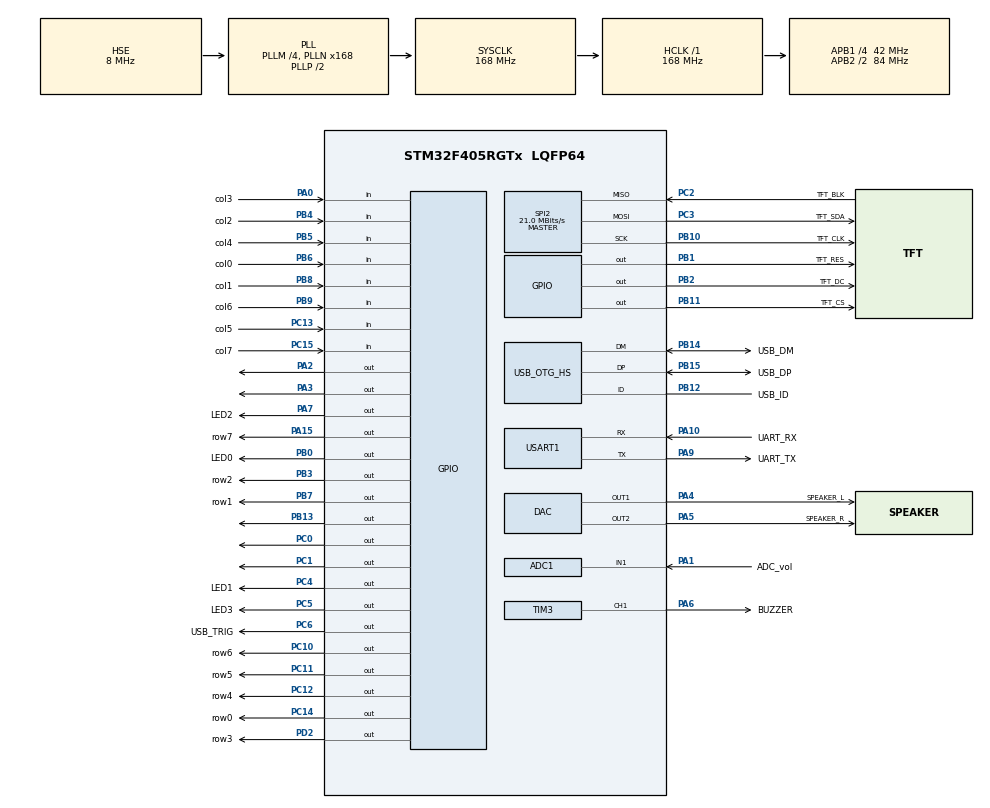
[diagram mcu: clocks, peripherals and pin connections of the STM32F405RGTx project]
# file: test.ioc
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ADC1.Channel-4\#ChannelRegularConversion=ADC_CHANNEL_1
ADC1.ContinuousConvMode=ENABLE
ADC1.NbrOfConversionFlag=1
ADC1.Rank-4\#ChannelRegularConversion=1
ADC1.SamplingTime-4\#ChannelRegularConversion=ADC_SAMPLETIME_3CYCLES
ADC1.master=1
Mcu.Family=STM32F4
Mcu.Name=STM32F405RGTx
Mcu.Package=LQFP64
NVIC.ADC_IRQn=true\:0\:0\:false\:false\:true\:true\:true
NVIC.PriorityGroup=NVIC_PRIORITYGROUP_4
NVIC.TIM3_IRQn=true\:0\:0\:false\:false\:true\:true\:true
PA0-WKUP.GPIO_Label=col3
PA0-WKUP.GPIO_PuPd=GPIO_PULLUP
PA0-WKUP.Signal=GPIO_Input
PA1.GPIO_Label=ADC_vol
PA1.Signal=ADCx_IN1
PA10.GPIO_Label=UART_RX
PA10.Mode=Asynchronous
PA10.Signal=USART1_RX
PA13.Signal=SYS_JTMS-SWDIO
PA14.Signal=SYS_JTCK-SWCLK
PA15.GPIO_Label=row7
PA15.PinState=GPIO_PIN_SET
PA15.Signal=GPIO_Output
PA2.Signal=GPIO_Output
PA3.Signal=GPIO_Output
PA4.GPIO_Label=SPEAKER_L
PA4.Signal=COMP_DAC1_group
PA5.GPIO_Label=SPEAKER_R
PA5.Signal=COMP_DAC2_group
PA6.GPIO_Label=BUZZER
PA6.Signal=S_TIM3_CH1
PA7.GPIO_Label=LED2
PA7.PinState=GPIO_PIN_SET
PA7.Signal=GPIO_Output
PA9.GPIO_Label=UART_TX
PA9.Mode=Asynchronous
PA9.Signal=USART1_TX
PB0.GPIO_Label=LED0
PB0.PinState=GPIO_PIN_SET
PB0.Signal=GPIO_Output
PB1.GPIO_Label=TFT_RES
PB1.Signal=GPIO_Output
PB10.GPIO_Label=TFT_CLK
PB10.Mode=Full_Duplex_Master
PB10.Signal=SPI2_SCK
PB11.GPIO_Label=TFT_CS
PB11.Signal=GPIO_Output
PB12.GPIO_Label=USB_ID
PB12.Mode=OTG/Dual-Role-Device-FS
PB12.Signal=USB_OTG_HS_ID
PB13.Signal=GPIO_Output
PB14.GPIO_Label=USB_DM
PB14.Mode=OTG/Dual-Role-Device-FS
PB14.Signal=USB_OTG_HS_DM
PB15.GPIO_Label=USB_DP
PB15.Mode=OTG/Dual-Role-Device-FS
PB15.Signal=USB_OTG_HS_DP
PB2.GPIO_Label=TFT_DC
PB2.Signal=GPIO_Output
PB3.GPIO_Label=row2
PB3.PinState=GPIO_PIN_SET
PB3.Signal=GPIO_Output
PB4.GPIO_Label=col2
PB4.GPIO_PuPd=GPIO_PULLUP
PB4.Signal=GPIO_Input
PB5.GPIO_Label=col4
PB5.GPIO_PuPd=GPIO_PULLUP
PB5.Signal=GPIO_Input
PB6.GPIO_Label=col0
PB6.GPIO_PuPd=GPIO_PULLUP
PB6.Signal=GPIO_Input
PB7.GPIO_Label=row1
PB7.PinState=GPIO_PIN_SET
PB7.Signal=GPIO_Output
PB8.GPIO_Label=col1
PB8.GPIO_PuPd=GPIO_PULLUP
PB8.Signal=GPIO_Input
PB9.GPIO_Label=col6
PB9.GPIO_PuPd=GPIO_PULLUP
PB9.Signal=GPIO_Input
PC0.Signal=GPIO_Output
PC1.Signal=GPIO_Output
PC10.GPIO_Label=row6
PC10.PinState=GPIO_PIN_SET
PC10.Signal=GPIO_Output
PC11.GPIO_Label=row5
PC11.PinState=GPIO_PIN_SET
PC11.Signal=GPIO_Output
PC12.GPIO_Label=row4
PC12.PinState=GPIO_PIN_SET
PC12.Signal=GPIO_Output
PC13-ANTI_TAMP.GPIO_Label=col5
PC13-ANTI_TAMP.GPIO_PuPd=GPIO_PULLUP
PC13-ANTI_TAMP.Signal=GPIO_Input
PC14-OSC32_IN.GPIO_Label=row0
PC14-OSC32_IN.PinState=GPIO_PIN_SET
PC14-OSC32_IN.Signal=GPIO_Output
PC15-OSC32_OUT.GPIO_Label=col7
PC15-OSC32_OUT.GPIO_PuPd=GPIO_PULLUP
PC15-OSC32_OUT.Signal=GPIO_Input
PC2.GPIO_Label=TFT_BLK
PC2.Mode=Full_Duplex_Master
PC2.Signal=SPI2_MISO
PC3.GPIO_Label=TFT_SDA
PC3.Mode=Full_Duplex_Master
PC3.Signal=SPI2_MOSI
PC4.GPIO_Label=LED1
PC4.PinState=GPIO_PIN_SET
PC4.Signal=GPIO_Output
PC5.GPIO_Label=LED3
PC5.PinState=GPIO_PIN_SET
PC5.Signal=GPIO_Output
PC6.GPIO_Label=USB_TRIG
PC6.Signal=GPIO_Output
PD2.GPIO_Label=row3
PD2.PinState=GPIO_PIN_SET
PD2.Signal=GPIO_Output
PH0-OSC_IN.Mode=HSE-External-Oscillator
PH0-OSC_IN.Signal=RCC_OSC_IN
PH1-OSC_OUT.Mode=HSE-External-Oscillator
PH1-OSC_OUT.Signal=RCC_OSC_OUT
ProjectManager.HeapSize=0x200
ProjectManager.StackSize=0x400
ProjectManager.TargetToolchain=STM32CubeIDE
RCC.48MHZClocksFreq_Value=48000000
RCC.AHBFreq_Value=168000000
RCC.APB1CLKDivider=RCC_HCLK_DIV4
RCC.APB1Freq_Value=42000000
RCC.APB1TimFreq_Value=84000000
RCC.APB2CLKDivider=RCC_HCLK_DIV2
RCC.APB2Freq_Value=84000000
RCC.APB2TimFreq_Value=168000000
RCC.CortexFreq_Value=168000000
RCC.HCLKFreq_Value=168000000
RCC.HSE_VALUE=8000000
RCC.HSI_VALUE=16000000
RCC.LSE_VALUE=32768
RCC.PLLM=4
RCC.PLLN=168
RCC.PLLQ=7
RCC.SYSCLKFreq_VALUE=168000000
RCC.SYSCLKSource=RCC_SYSCLKSOURCE_PLLCLK
RCC.VCOOutputFreq_Value=336000000
SH.ADCx_IN1.0=ADC1_IN1,IN1
SH.COMP_DAC1_group.0=DAC_OUT1,DAC_OUT1
SH.COMP_DAC2_group.0=DAC_OUT2,DAC_OUT2
SH.S_TIM3_CH1.0=TIM3_CH1,PWM Generation1 CH1
SPI2.BaudRatePrescaler=SPI_BAUDRATEPRESCALER_2
SPI2.CalculateBaudRate=21.0 MBits/s
SPI2.Direction=SPI_DIRECTION_2LINES
SPI2.Mode=SPI_MODE_MASTER
SPI2.VirtualType=VM_MASTER
TIM3.Channel-PWM\ Generation1\ CH1=TIM_CHANNEL_1
TIM3.Period=255-1
TIM3.Prescaler=692-1
USART1.VirtualMode=VM_ASYNC
VP_TIM3_VS_ClockSourceINT.Mode=Internal
board=custom

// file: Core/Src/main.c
/* USER CODE BEGIN Header */
/**
  ******************************************************************************
  * @file           : main.c
  * @brief          : Main program body
  ******************************************************************************
  * @attention
  *
  * <h2><center>&copy; Copyright (c) 2022 STMicroelectronics.
  * All rights reserved.</center></h2>
  *
  * This software component is licensed by ST under BSD 3-Clause license,
  * the "License"; You may not use this file except in compliance with the
  * License. You may obtain a copy of the License at:
  *                        opensource.org/licenses/BSD-3-Clause
  *
  ******************************************************************************
  */
/* USER CODE END Header */
#include "main.h"

/* USER CODE BEGIN Includes */
#include "button_matrix.h"
/* USER CODE END Includes */

ADC_HandleTypeDef hadc1;

DAC_HandleTypeDef hdac;

SPI_HandleTypeDef hspi2;

TIM_HandleTypeDef htim3;

UART_HandleTypeDef huart1;

/* USER CODE BEGIN PV */

volatile uint32_t last_ticks;
float get_volume(){
	uint32_t knob_reading = 0;
	HAL_ADC_PollForConversion(&hadc1, 100);
	knob_reading = HAL_ADC_GetValue(&hadc1);
	return knob_reading/1.0;
}
void beeper_high(){

	  TIM3->ARR = 1000;    //set the timer1 auto-reload counter
	  TIM3->PSC = 120;    //set the timer1 prescaler value
	  TIM3->CCR1 = 500; //set the compare value of timer1 channel1
}
void beeper_low(){

	  TIM3->ARR = 1000;    //set the timer1 auto-reload counter
	  TIM3->PSC = 168;    //set the timer1 prescaler value
	  TIM3->CCR1 = 500; //set the compare value of timer1 channel1
}
void beeper_off(){

	  TIM3->ARR = 1000;    //set the timer1 auto-reload counter
	  TIM3->PSC = 84;    //set the timer1 prescaler value
	  TIM3->CCR1 = 0; //set the compare value of timer1 channel1
}
float metronome_beeper(int bpm, int idk_what_it_call){
	float b2b_time = 1/(bpm/60.0f)*1000;
	static uint16_t count = 0;
	static uint8_t buzz_offed = 0;
	if (HAL_GetTick() - last_ticks > b2b_time) {
		last_ticks = HAL_GetTick();
		buzz_offed = 0;
		if(!(count % idk_what_it_call)){
			beeper_high();
		}else{
			beeper_low();
		}
		count++;
		gpio_toggle(LED2);
	}
	if(HAL_GetTick() - last_ticks > 5 && !buzz_offed){
		beeper_off();
		buzz_offed = 1;
		last_ticks = HAL_GetTick();
	}
}
/* USER CODE END PV */

void SystemClock_Config(void);
static void MX_GPIO_Init(void);
static void MX_ADC1_Init(void);
static void MX_USART1_UART_Init(void);
static void MX_USB_OTG_HS_USB_Init(void);
static void MX_DAC_Init(void);
static void MX_TIM3_Init(void);
static void MX_SPI2_Init(void);
/* USER CODE BEGIN PFP */
uint32_t raw = 0;
/* USER CODE END PFP */

int main(void)
{

  /* MCU Configuration--------------------------------------------------------*/

  /* Reset of all peripherals, Initializes the Flash interface and the Systick. */
  HAL_Init();

  /* Configure the system clock */
  SystemClock_Config();

  /* Initialize all configured peripherals */
  MX_GPIO_Init();
  MX_ADC1_Init();
  MX_USART1_UART_Init();
  MX_USB_OTG_HS_USB_Init();
  MX_DAC_Init();
  MX_TIM3_Init();
  MX_SPI2_Init();
  /* USER CODE BEGIN 2 */

//  HAL_ADC_Start(&hadc1);
  /* USER CODE END 2 */

  /* Infinite loop */
  /* USER CODE BEGIN WHILE */
  TIM3->ARR = 1000;    //set the timer1 auto-reload counter
  TIM3->PSC = 84;    //set the timer1 prescaler value
  TIM3->CCR1 = 500; //set the compare value of timer1 channel1
  uint64_t btn_matrix = 0;
  uint8_t last_btn = 0;
  float volume = 0;
//  HAL_TIM_PWM_Start(&htim3, TIM_CHANNEL_1);//too noist
  last_ticks = HAL_GetTick();
  while (1)
  {

	metronome_beeper(80, 3);
	btn_matrix = detect_key_matrix();
	if(read_key_matrix(BTN_1_U)){
		gpio_reset(LED0);
	}else{
		gpio_set(LED0);
	}if(read_key_matrix(BTN_1_D)){
		gpio_reset(LED1);
	}else{
		gpio_set(LED1);
	}
//	  gpio_toggle(LED2);
//	  delay(499);
//	volume = get_volume();
		HAL_ADC_Start(&hadc1);
		HAL_ADC_PollForConversion(&hadc1, HAL_MAX_DELAY);
		raw = HAL_ADC_GetValue(&hadc1);
		HAL_ADC_Stop(&hadc1);
    /* USER CODE END WHILE */

  }
}

void SystemClock_Config(void)
{
  RCC_OscInitTypeDef RCC_OscInitStruct = {0};
  RCC_ClkInitTypeDef RCC_ClkInitStruct = {0};

  /** Configure the main internal regulator output voltage
  */
  __HAL_RCC_PWR_CLK_ENABLE();
  __HAL_PWR_VOLTAGESCALING_CONFIG(PWR_REGULATOR_VOLTAGE_SCALE1);
  /** Initializes the RCC Oscillators according to the specified parameters
  * in the RCC_OscInitTypeDef structure.
  */
  RCC_OscInitStruct.OscillatorType = RCC_OSCILLATORTYPE_HSE;
  RCC_OscInitStruct.HSEState = RCC_HSE_ON;
  RCC_OscInitStruct.PLL.PLLState = RCC_PLL_ON;
  RCC_OscInitStruct.PLL.PLLSource = RCC_PLLSOURCE_HSE;
  RCC_OscInitStruct.PLL.PLLM = 4;
  RCC_OscInitStruct.PLL.PLLN = 168;
  RCC_OscInitStruct.PLL.PLLP = RCC_PLLP_DIV2;
  RCC_OscInitStruct.PLL.PLLQ = 7;
  if (HAL_RCC_OscConfig(&RCC_OscInitStruct) != HAL_OK)
  {
    Error_Handler();
  }
  /** Initializes the CPU, AHB and APB buses clocks
  */
  RCC_ClkInitStruct.ClockType = RCC_CLOCKTYPE_HCLK|RCC_CLOCKTYPE_SYSCLK
                              |RCC_CLOCKTYPE_PCLK1|RCC_CLOCKTYPE_PCLK2;
  RCC_ClkInitStruct.SYSCLKSource = RCC_SYSCLKSOURCE_PLLCLK;
  RCC_ClkInitStruct.AHBCLKDivider = RCC_SYSCLK_DIV1;
  RCC_ClkInitStruct.APB1CLKDivider = RCC_HCLK_DIV4;
  RCC_ClkInitStruct.APB2CLKDivider = RCC_HCLK_DIV2;

  if (HAL_RCC_ClockConfig(&RCC_ClkInitStruct, FLASH_LATENCY_5) != HAL_OK)
  {
    Error_Handler();
  }
}

static void MX_ADC1_Init(void)
{

  ADC_ChannelConfTypeDef sConfig = {0};

  /** Configure the global features of the ADC (Clock, Resolution, Data Alignment and number of conversion)
  */
  hadc1.Instance = ADC1;
  hadc1.Init.ClockPrescaler = ADC_CLOCK_SYNC_PCLK_DIV4;
  hadc1.Init.Resolution = ADC_RESOLUTION_12B;
  hadc1.Init.ScanConvMode = DISABLE;
  hadc1.Init.ContinuousConvMode = ENABLE;
  hadc1.Init.DiscontinuousConvMode = DISABLE;
  hadc1.Init.ExternalTrigConvEdge = ADC_EXTERNALTRIGCONVEDGE_NONE;
  hadc1.Init.ExternalTrigConv = ADC_SOFTWARE_START;
  hadc1.Init.DataAlign = ADC_DATAALIGN_RIGHT;
  hadc1.Init.NbrOfConversion = 1;
  hadc1.Init.DMAContinuousRequests = DISABLE;
  hadc1.Init.EOCSelection = ADC_EOC_SINGLE_CONV;
  if (HAL_ADC_Init(&hadc1) != HAL_OK)
  {
    Error_Handler();
  }
  /** Configure for the selected ADC regular channel its corresponding rank in the sequencer and its sample time.
  */
  sConfig.Channel = ADC_CHANNEL_1;
  sConfig.Rank = 1;
  sConfig.SamplingTime = ADC_SAMPLETIME_3CYCLES;
  if (HAL_ADC_ConfigChannel(&hadc1, &sConfig) != HAL_OK)
  {
    Error_Handler();
  }

}

static void MX_DAC_Init(void)
{

  DAC_ChannelConfTypeDef sConfig = {0};

  /** DAC Initialization
  */
  hdac.Instance = DAC;
  if (HAL_DAC_Init(&hdac) != HAL_OK)
  {
    Error_Handler();
  }
  /** DAC channel OUT1 config
  */
  sConfig.DAC_Trigger = DAC_TRIGGER_NONE;
  sConfig.DAC_OutputBuffer = DAC_OUTPUTBUFFER_ENABLE;
  if (HAL_DAC_ConfigChannel(&hdac, &sConfig, DAC_CHANNEL_1) != HAL_OK)
  {
    Error_Handler();
  }
  /** DAC channel OUT2 config
  */
  if (HAL_DAC_ConfigChannel(&hdac, &sConfig, DAC_CHANNEL_2) != HAL_OK)
  {
    Error_Handler();
  }

}

static void MX_SPI2_Init(void)
{

  /* SPI2 parameter configuration*/
  hspi2.Instance = SPI2;
  hspi2.Init.Mode = SPI_MODE_MASTER;
  hspi2.Init.Direction = SPI_DIRECTION_2LINES;
  hspi2.Init.DataSize = SPI_DATASIZE_8BIT;
  hspi2.Init.CLKPolarity = SPI_POLARITY_LOW;
  hspi2.Init.CLKPhase = SPI_PHASE_1EDGE;
  hspi2.Init.NSS = SPI_NSS_SOFT;
  hspi2.Init.BaudRatePrescaler = SPI_BAUDRATEPRESCALER_2;
  hspi2.Init.FirstBit = SPI_FIRSTBIT_MSB;
  hspi2.Init.TIMode = SPI_TIMODE_DISABLE;
  hspi2.Init.CRCCalculation = SPI_CRCCALCULATION_DISABLE;
  hspi2.Init.CRCPolynomial = 10;
  if (HAL_SPI_Init(&hspi2) != HAL_OK)
  {
    Error_Handler();
  }

}

static void MX_TIM3_Init(void)
{

  TIM_ClockConfigTypeDef sClockSourceConfig = {0};
  TIM_MasterConfigTypeDef sMasterConfig = {0};
  TIM_OC_InitTypeDef sConfigOC = {0};

  htim3.Instance = TIM3;
  htim3.Init.Prescaler = 692-1;
  htim3.Init.CounterMode = TIM_COUNTERMODE_UP;
  htim3.Init.Period = 255-1;
  htim3.Init.ClockDivision = TIM_CLOCKDIVISION_DIV1;
  htim3.Init.AutoReloadPreload = TIM_AUTORELOAD_PRELOAD_DISABLE;
  if (HAL_TIM_Base_Init(&htim3) != HAL_OK)
  {
    Error_Handler();
  }
  sClockSourceConfig.ClockSource = TIM_CLOCKSOURCE_INTERNAL;
  if (HAL_TIM_ConfigClockSource(&htim3, &sClockSourceConfig) != HAL_OK)
  {
    Error_Handler();
  }
  if (HAL_TIM_PWM_Init(&htim3) != HAL_OK)
  {
    Error_Handler();
  }
  sMasterConfig.MasterOutputTrigger = TIM_TRGO_RESET;
  sMasterConfig.MasterSlaveMode = TIM_MASTERSLAVEMODE_DISABLE;
  if (HAL_TIMEx_MasterConfigSynchronization(&htim3, &sMasterConfig) != HAL_OK)
  {
    Error_Handler();
  }
  sConfigOC.OCMode = TIM_OCMODE_PWM1;
  sConfigOC.Pulse = 0;
  sConfigOC.OCPolarity = TIM_OCPOLARITY_HIGH;
  sConfigOC.OCFastMode = TIM_OCFAST_DISABLE;
  if (HAL_TIM_PWM_ConfigChannel(&htim3, &sConfigOC, TIM_CHANNEL_1) != HAL_OK)
  {
    Error_Handler();
  }
  HAL_TIM_MspPostInit(&htim3);

}

static void MX_USART1_UART_Init(void)
{

  huart1.Instance = USART1;
  huart1.Init.BaudRate = 115200;
  huart1.Init.WordLength = UART_WORDLENGTH_8B;
  huart1.Init.StopBits = UART_STOPBITS_1;
  huart1.Init.Parity = UART_PARITY_NONE;
  huart1.Init.Mode = UART_MODE_TX_RX;
  huart1.Init.HwFlowCtl = UART_HWCONTROL_NONE;
  huart1.Init.OverSampling = UART_OVERSAMPLING_16;
  if (HAL_UART_Init(&huart1) != HAL_OK)
  {
    Error_Handler();
  }

}

static void MX_USB_OTG_HS_USB_Init(void)
{

}

static void MX_GPIO_Init(void)
{
  GPIO_InitTypeDef GPIO_InitStruct = {0};

  /* GPIO Ports Clock Enable */
  __HAL_RCC_GPIOC_CLK_ENABLE();
  __HAL_RCC_GPIOH_CLK_ENABLE();
  __HAL_RCC_GPIOA_CLK_ENABLE();
  __HAL_RCC_GPIOB_CLK_ENABLE();
  __HAL_RCC_GPIOD_CLK_ENABLE();

  /*Configure GPIO pin Output Level */
  HAL_GPIO_WritePin(GPIOC, row0_Pin|LED1_Pin|LED3_Pin|row6_Pin
                          |row5_Pin|row4_Pin, GPIO_PIN_SET);

  /*Configure GPIO pin Output Level */
  HAL_GPIO_WritePin(GPIOC, GPIO_PIN_0|GPIO_PIN_1|USB_TRIG_Pin, GPIO_PIN_RESET);

  /*Configure GPIO pin Output Level */
  HAL_GPIO_WritePin(GPIOA, GPIO_PIN_2|GPIO_PIN_3, GPIO_PIN_RESET);

  /*Configure GPIO pin Output Level */
  HAL_GPIO_WritePin(GPIOA, LED2_Pin|row7_Pin, GPIO_PIN_SET);

  /*Configure GPIO pin Output Level */
  HAL_GPIO_WritePin(GPIOB, LED0_Pin|row2_Pin|row1_Pin, GPIO_PIN_SET);

  /*Configure GPIO pin Output Level */
  HAL_GPIO_WritePin(GPIOB, TFT_RES_Pin|TFT_DC_Pin|TFT_CS_Pin|GPIO_PIN_13, GPIO_PIN_RESET);

  /*Configure GPIO pin Output Level */
  HAL_GPIO_WritePin(row3_GPIO_Port, row3_Pin, GPIO_PIN_SET);

  /*Configure GPIO pins : col5_Pin col7_Pin */
  GPIO_InitStruct.Pin = col5_Pin|col7_Pin;
  GPIO_InitStruct.Mode = GPIO_MODE_INPUT;
  GPIO_InitStruct.Pull = GPIO_PULLUP;
  HAL_GPIO_Init(GPIOC, &GPIO_InitStruct);

  /*Configure GPIO pins : row0_Pin PC0 PC1 LED1_Pin
                           LED3_Pin USB_TRIG_Pin row6_Pin row5_Pin
                           row4_Pin */
  GPIO_InitStruct.Pin = row0_Pin|GPIO_PIN_0|GPIO_PIN_1|LED1_Pin
                          |LED3_Pin|USB_TRIG_Pin|row6_Pin|row5_Pin
                          |row4_Pin;
  GPIO_InitStruct.Mode = GPIO_MODE_OUTPUT_PP;
  GPIO_InitStruct.Pull = GPIO_NOPULL;
  GPIO_InitStruct.Speed = GPIO_SPEED_FREQ_LOW;
  HAL_GPIO_Init(GPIOC, &GPIO_InitStruct);

  /*Configure GPIO pin : col3_Pin */
  GPIO_InitStruct.Pin = col3_Pin;
  GPIO_InitStruct.Mode = GPIO_MODE_INPUT;
  GPIO_InitStruct.Pull = GPIO_PULLUP;
  HAL_GPIO_Init(col3_GPIO_Port, &GPIO_InitStruct);

  /*Configure GPIO pins : PA2 PA3 LED2_Pin row7_Pin */
  GPIO_InitStruct.Pin = GPIO_PIN_2|GPIO_PIN_3|LED2_Pin|row7_Pin;
  GPIO_InitStruct.Mode = GPIO_MODE_OUTPUT_PP;
  GPIO_InitStruct.Pull = GPIO_NOPULL;
  GPIO_InitStruct.Speed = GPIO_SPEED_FREQ_LOW;
  HAL_GPIO_Init(GPIOA, &GPIO_InitStruct);

  /*Configure GPIO pins : LED0_Pin TFT_RES_Pin TFT_DC_Pin TFT_CS_Pin
                           PB13 row2_Pin row1_Pin */
  GPIO_InitStruct.Pin = LED0_Pin|TFT_RES_Pin|TFT_DC_Pin|TFT_CS_Pin
                          |GPIO_PIN_13|row2_Pin|row1_Pin;
  GPIO_InitStruct.Mode = GPIO_MODE_OUTPUT_PP;
  GPIO_InitStruct.Pull = GPIO_NOPULL;
  GPIO_InitStruct.Speed = GPIO_SPEED_FREQ_LOW;
  HAL_GPIO_Init(GPIOB, &GPIO_InitStruct);

  /*Configure GPIO pins : USB_ID_Pin USB_DM_Pin USB_DP_Pin */
  GPIO_InitStruct.Pin = USB_ID_Pin|USB_DM_Pin|USB_DP_Pin;
  GPIO_InitStruct.Mode = GPIO_MODE_AF_PP;
  GPIO_InitStruct.Pull = GPIO_NOPULL;
  GPIO_InitStruct.Speed = GPIO_SPEED_FREQ_VERY_HIGH;
  GPIO_InitStruct.Alternate = GPIO_AF12_OTG_HS_FS;
  HAL_GPIO_Init(GPIOB, &GPIO_InitStruct);

  /*Configure GPIO pin : row3_Pin */
  GPIO_InitStruct.Pin = row3_Pin;
  GPIO_InitStruct.Mode = GPIO_MODE_OUTPUT_PP;
  GPIO_InitStruct.Pull = GPIO_NOPULL;
  GPIO_InitStruct.Speed = GPIO_SPEED_FREQ_LOW;
  HAL_GPIO_Init(row3_GPIO_Port, &GPIO_InitStruct);

  /*Configure GPIO pins : col2_Pin col4_Pin col0_Pin col1_Pin
                           col6_Pin */
  GPIO_InitStruct.Pin = col2_Pin|col4_Pin|col0_Pin|col1_Pin
                          |col6_Pin;
  GPIO_InitStruct.Mode = GPIO_MODE_INPUT;
  GPIO_InitStruct.Pull = GPIO_PULLUP;
  HAL_GPIO_Init(GPIOB, &GPIO_InitStruct);

}

void Error_Handler(void)
{
  __disable_irq();
  while (1)
  {
  }
}

/************************ (C) COPYRIGHT STMicroelectronics *****END OF FILE****/
